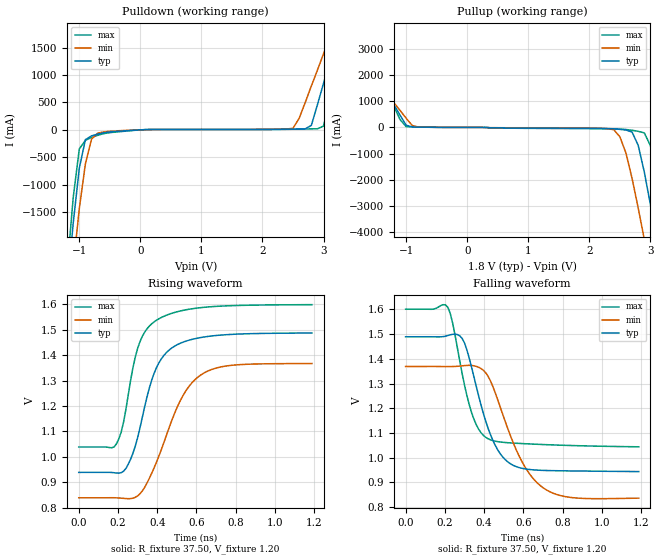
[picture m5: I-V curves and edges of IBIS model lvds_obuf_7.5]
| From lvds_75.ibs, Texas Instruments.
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|   Model lvds_obuf_7.5
[Model]   lvds_obuf_7.5
Model_type   Output
Polarity   Non-Inverting
Vmeas =   1.2000V
C_comp   4.00pF   4.00pF   4.00pF
[Temperature Range]   25.00   0.12k   -40.00
[Voltage Range]   1.80V   1.65V   1.95V
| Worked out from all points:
|   slope of the pulldown table from 0 to 0.27 V, typ, clamps not added: 39.9 ohm
|   slope of the pullup table from 0 to 0.27 V, typ, clamps not added: 4.71 kohm
|   rising waveform, R_fixture 37.50, V_fixture 1.20: 20-80 % time 124ps typ, 171ps min, 101ps max; typ from 0.939 V to 1.49 V
|   falling waveform, R_fixture 37.50, V_fixture 1.20: 20-80 % time 123ps typ, 167ps min, 94.8ps max; typ from 1.49 V to 0.943 V
[Pulldown]
| voltage   I(typ)   I(min)   I(max)
-1.8V     -11.25A    -11.52A    -11.63A
-1.2V     -2.95A     -3.66A     -2.56A
-1.1V     -1.71A     -2.5A      -1.24A
-1V       -700mA     -1.44A     -350mA
-900mV    -180mA     -620mA     -190mA
-800mV    -110mA     -170mA     -140mA
2.5V      13.84mA    29.72mA    11.32mA
2.8V      81.61mA    800mA      17.15mA
3V        850mA      1.39A      68.26mA
3.2V      1.64A      2A         1.05A
3.4V      2.44A      2.87A      2.05A
3.6V      3.26A      7.07A      3.07A
[Pullup]
| voltage   I(typ)   I(min)   I(max)
-1.8V     3.24A      3.32A      3.83A
-1.6V     2.43A      2.16A      2.81A
-1V       82.05mA    350mA      27.99mA
2.4V      -55.17mA   -88.68mA   -56.59mA
2.5V      -75.44mA   -360mA     -63.71mA
2.7V      -180mA     -1.96A     -110mA
2.9V      -1.71A     -4.29A     -210mA
3V        -2.96A     -5.53A     -700mA
3.1V      -4.3A      -6.79A     -1.87A
3.2V      -5.67A     -8.07A     -3.29A
3.3V      -7.06A     -9.37A     -4.77A
3.6V      -11.32A    -15.14A    -9.37A
[Ramp]
| variable   typ   min   max
dV/dt_r   0.57/0.15n   0.39/0.20n   0.71/0.11n
dV/dt_f   0.20/0.10n   0.19/0.14n   0.22/83.01p
R_load = 37.50
[Rising Waveform]
R_fixture = 37.50
V_fixture = 1.20
V_fixture_min = 1.10
V_fixture_max = 1.30
| time   V(typ)   V(min)   V(max)
0s        939.2mV    839.3mV    1.039V
180ps     937.8mV    839.5mV    1.039V
216ps     938.1mV    837.9mV    1.097V
240ps     954.1mV    836.2mV    1.185V
300ps     1.076V     846.7mV    1.426V
396ps     1.351V     979mV      1.537V
516ps     1.446V     1.219V     1.573V
624ps     1.47V      1.323V     1.587V
780ps     1.482V     1.36V      1.595V
1.188ns   1.487V     1.367V     1.598V
[Falling Waveform]
R_fixture = 37.50
V_fixture = 1.20
V_fixture_min = 1.10
V_fixture_max = 1.30
| time   V(typ)   V(min)   V(max)
0s        1.489V     1.369V     1.601V
216ps     1.494V     1.369V     1.608V
300ps     1.464V     1.372V     1.294V
360ps     1.288V     1.369V     1.133V
420ps     1.119V     1.33V      1.076V
516ps     985.6mV    1.127V     1.061V
600ps     955.5mV    973.3mV    1.056V
684ps     948.7mV    888.1mV    1.053V
840ps     946.1mV    838.8mV    1.049V
1.188ns   943.4mV    835.8mV    1.044V
